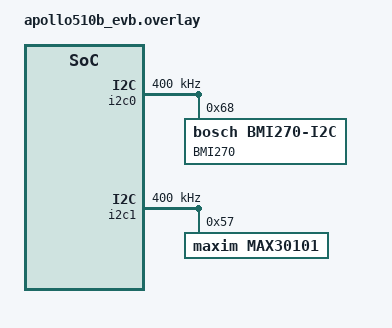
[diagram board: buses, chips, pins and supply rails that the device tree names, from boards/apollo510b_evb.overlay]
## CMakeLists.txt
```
# SPDX-License-Identifier: Apache-2.0
cmake_minimum_required(VERSION 3.20.0)
find_package(Zephyr REQUIRED HINTS $ENV{ZEPHYR_BASE})
project(weaver_wearable_fp)
target_sources(app PRIVATE src/main.c)
```

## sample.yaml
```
sample:
  description: Weaver pressure-aware scheduler driving real wearable sensors
    (BMI270 + MAX30101 Click boards) via the floating-point variant on
    Apollo510 Blue EVB.
  name: Weaver Wearable FP (Apollo510B + Click)
common:
  tags:
    - kernel
    - weaver
    - weaver-fp
    - wearable
    - sensor
  harness: console
  harness_config:
    type: one_line
    regex:
      - "Weaver FP Wearable Demo Complete"
tests:
  sample.kernel.weaver_wearable_fp.apollo510b:
    platform_allow:
      - apollo510b_evb
    integration_platforms:
      - apollo510b_evb
    extra_args:
      - SHIELD=ap510_disp
```

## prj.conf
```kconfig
# Weaver wearable on Apollo510 Blue EVB at 96 MHz LP mode, FP variant.
# Same workload as weaver_wearable but using the floating-point
# scheduler. Suitable when your Weft threads already use the FPU.

CONFIG_WEAVER_SCHED_FP=y
CONFIG_WEAVER_FP_WEARABLE_PRESET=y
CONFIG_WEAVER_FP_TIMING=y

CONFIG_FPU=y

# Sensor API
CONFIG_I2C=y
CONFIG_SENSOR=y
CONFIG_BMI270=y
CONFIG_MAX30101=y

# BLE host stack
CONFIG_BT=y
CONFIG_BT_PERIPHERAL=y
CONFIG_BT_DEVICE_NAME="Weaver FP Wearable"
CONFIG_BT_DIS=y

# Logging / runtime
CONFIG_LOG=y
CONFIG_LOG_MODE_MINIMAL=y
CONFIG_THREAD_NAME=y
CONFIG_THREAD_RUNTIME_STATS=y

CONFIG_MAIN_STACK_SIZE=4096
CONFIG_HEAP_MEM_POOL_SIZE=4096
CONFIG_SYS_CLOCK_TICKS_PER_SEC=1000
CONFIG_MP_MAX_NUM_CPUS=1

CONFIG_PM=y
CONFIG_PM_DEVICE=y
CONFIG_PM_DEVICE_RUNTIME=y
```

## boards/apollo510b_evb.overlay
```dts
/*
 * Copyright (c) 2026 Ambiq Micro, Inc.
 *
 * SPDX-License-Identifier: Apache-2.0
 *
 * Apollo510 Blue EVB overlay for the Weaver wearable demo.
 *
 * Wiring assumptions:
 *   mikroBUS slot 1 -> 6DOF IMU 14 Click   (BMI270)  on IOM0 / I2C0
 *   mikroBUS slot 2 -> Heart Rate 4 Click  (MAX30101) on IOM1 / I2C1
 *
 * If the EVB exposes a single mikroBUS slot, populate it with the
 * BMI270 click and remove the &iom1 / max30101 block below. The
 * scheduler logic is identical; the demo just won't drive the PPG
 * pipeline.
 *
 * The display is provided by the ap510_disp shield (MIPI-DSI AMOLED
 * + CHSC5x touch on iom2/i2c2). BLE is on iom6/spi6 from the board
 * DTS.
 */

&iom0 {
	cmdq-buffer-location = "SRAM_NO_CACHE";
	cmdq-buffer-size = <256>;

	i2c0: i2c {
		pinctrl-0 = <&i2c0_default>;
		pinctrl-names = "default";
		clock-frequency = <I2C_BITRATE_FAST>;
		status = "okay";

		bmi270@68 {
			compatible = "bosch,bmi270-i2c";
			reg = <0x68>;
			label = "BMI270";
			status = "okay";
		};
	};
};

&iom1 {
	cmdq-buffer-location = "SRAM_NO_CACHE";
	cmdq-buffer-size = <256>;

	i2c1: i2c {
		pinctrl-0 = <&i2c1_default>;
		pinctrl-names = "default";
		clock-frequency = <I2C_BITRATE_FAST>;
		status = "okay";

		max30101@57 {
			compatible = "maxim,max30101";
			reg = <0x57>;
			label = "MAX30101";
			status = "okay";

			/* Conservative defaults; tune for your wearable. */
			fifo = <0x4f>;
			smp-ave = "1";
			fifo-rollover-en;
			mode = "multi-led";
			slot1 = "red";
			slot2 = "ir";
			adc-rge = "16384";
			sr = "100";
			led-pa = [02 02 00 00];
		};
	};
};
```

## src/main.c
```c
/*
 * Copyright (c) 2026 Ambiq Micro, Inc.
 * SPDX-License-Identifier: Apache-2.0
 *
 * Same wearable workload as samples/.../weaver_wearable, but using
 * the floating-point Weaver variant. See weaver_sched_fp.h header for
 * when this variant is preferable to the fixed-point one.
 */

#include <zephyr/kernel.h>
#include <zephyr/kernel/weaver_sched_fp.h>
#include <zephyr/device.h>
#include <zephyr/drivers/sensor.h>
#include <zephyr/sys/printk.h>
#include <zephyr/logging/log.h>

LOG_MODULE_REGISTER(weaver_wearable_fp, LOG_LEVEL_INF);

#define IMU_PERIOD_MS  20
#define PPG_PERIOD_MS  40
#define DEMO_DURATION_MS 5000

#define IMU_PRIO        3
#define PPG_PRIO        4
#define FUSION_PRIO     8
#define HR_PRIO         8
#define GATT_TX_PRIO    9
#define DISPLAY_PRIO    11
#define NVM_PRIO        12

#define FIFO_SAMPLES 32

static atomic_t imu_ring  = ATOMIC_INIT(0);
static atomic_t ppg_ring  = ATOMIC_INIT(0);
static atomic_t gatt_ring = ATOMIC_INIT(0);

static const struct device *const bmi270_dev   = DEVICE_DT_GET_ANY(bosch_bmi270_i2c);
static const struct device *const max30101_dev = DEVICE_DT_GET_ANY(maxim_max30101);

#define STACK_SIZE 2048

static K_THREAD_STACK_DEFINE(s_imu,    STACK_SIZE);
static K_THREAD_STACK_DEFINE(s_ppg,    STACK_SIZE);
static K_THREAD_STACK_DEFINE(s_fusion, STACK_SIZE);
static K_THREAD_STACK_DEFINE(s_hr,     STACK_SIZE);
static K_THREAD_STACK_DEFINE(s_gatt,   STACK_SIZE);
static K_THREAD_STACK_DEFINE(s_disp,   STACK_SIZE);
static K_THREAD_STACK_DEFINE(s_nvm,    STACK_SIZE);

static struct k_thread t_imu, t_ppg, t_fusion, t_hr, t_gatt, t_disp, t_nvm;
static struct weaver_fp_thread_data wd_imu, wd_ppg, wd_fusion, wd_hr,
				    wd_gatt, wd_disp, wd_nvm;

static inline float depth_to_fill(int depth)
{
	if (depth <= 0)             return 0.0f;
	if (depth >= FIFO_SAMPLES)  return 1.0f;
	return (float)depth / (float)FIFO_SAMPLES;
}

static void imu_sample_fn(void *a, void *b, void *c)
{
	ARG_UNUSED(a); ARG_UNUSED(b); ARG_UNUSED(c);
	while (1) {
		if (device_is_ready(bmi270_dev)) {
			(void)sensor_sample_fetch(bmi270_dev);
			int d = atomic_inc(&imu_ring) + 1;
			if (d > FIFO_SAMPLES) atomic_set(&imu_ring, FIFO_SAMPLES);
			weaver_fp_set_buffer_fill_predictive(
				&wd_fusion, depth_to_fill(d));
		}
		k_sleep(K_MSEC(IMU_PERIOD_MS));
	}
}

static void ppg_sample_fn(void *a, void *b, void *c)
{
	ARG_UNUSED(a); ARG_UNUSED(b); ARG_UNUSED(c);
	while (1) {
		if (device_is_ready(max30101_dev)) {
			(void)sensor_sample_fetch(max30101_dev);
			int d = atomic_inc(&ppg_ring) + 1;
			if (d > FIFO_SAMPLES) atomic_set(&ppg_ring, FIFO_SAMPLES);
			weaver_fp_set_buffer_fill_predictive(
				&wd_hr, depth_to_fill(d));
		}
		k_sleep(K_MSEC(PPG_PERIOD_MS));
	}
}

static void fusion_fn(void *a, void *b, void *c)
{
	ARG_UNUSED(a); ARG_UNUSED(b); ARG_UNUSED(c);
	while (1) {
		int d = atomic_get(&imu_ring);
		if (d > 0) {
			int new_d = MAX(0, d - 8);
			atomic_set(&imu_ring, new_d);
			weaver_fp_set_buffer_fill_predictive(
				&wd_fusion, depth_to_fill(new_d));
		}
		k_sleep(K_MSEC(5));
	}
}

static void hr_fn(void *a, void *b, void *c)
{
	ARG_UNUSED(a); ARG_UNUSED(b); ARG_UNUSED(c);
	while (1) {
		int d = atomic_get(&ppg_ring);
		if (d > 0) {
			int new_d = MAX(0, d - 4);
			atomic_set(&ppg_ring, new_d);
			weaver_fp_set_buffer_fill_predictive(
				&wd_hr, depth_to_fill(new_d));
		}
		k_sleep(K_MSEC(10));
	}
}

static void gatt_tx_fn(void *a, void *b, void *c)
{
	ARG_UNUSED(a); ARG_UNUSED(b); ARG_UNUSED(c);
	while (1) {
		int d = atomic_inc(&gatt_ring) + 1;
		if (d > FIFO_SAMPLES) atomic_set(&gatt_ring, FIFO_SAMPLES);
		weaver_fp_set_buffer_fill_predictive(
			&wd_gatt, depth_to_fill(d));

		k_sleep(K_MSEC(15));

		int new_d = MAX(0, atomic_get(&gatt_ring) - 3);
		atomic_set(&gatt_ring, new_d);
		weaver_fp_set_buffer_fill_predictive(
			&wd_gatt, depth_to_fill(new_d));
	}
}

static void display_fn(void *a, void *b, void *c)
{
	ARG_UNUSED(a); ARG_UNUSED(b); ARG_UNUSED(c);
	while (1) { k_sleep(K_MSEC(33)); }
}

static void nvm_fn(void *a, void *b, void *c)
{
	ARG_UNUSED(a); ARG_UNUSED(b); ARG_UNUSED(c);
	while (1) { k_sleep(K_MSEC(1000)); }
}

static void tick_handler(struct k_timer *t) { ARG_UNUSED(t); weaver_fp_tick(); }
static K_TIMER_DEFINE(weaver_timer, tick_handler, NULL);

int main(void)
{
	printk("Weaver FP wearable demo on Apollo510B EVB (LP @ 96 MHz)\n");
	printk("BMI270   ready: %s\n",
	       (bmi270_dev   && device_is_ready(bmi270_dev))   ? "yes" : "no");
	printk("MAX30101 ready: %s\n",
	       (max30101_dev && device_is_ready(max30101_dev)) ? "yes" : "no");

	k_thread_create(&t_imu,    s_imu,    STACK_SIZE, imu_sample_fn,
			NULL, NULL, NULL, IMU_PRIO,     0, K_NO_WAIT);
	k_thread_create(&t_ppg,    s_ppg,    STACK_SIZE, ppg_sample_fn,
			NULL, NULL, NULL, PPG_PRIO,     0, K_NO_WAIT);
	k_thread_create(&t_fusion, s_fusion, STACK_SIZE, fusion_fn,
			NULL, NULL, NULL, FUSION_PRIO,  0, K_NO_WAIT);
	k_thread_create(&t_hr,     s_hr,     STACK_SIZE, hr_fn,
			NULL, NULL, NULL, HR_PRIO,      0, K_NO_WAIT);
	k_thread_create(&t_gatt,   s_gatt,   STACK_SIZE, gatt_tx_fn,
			NULL, NULL, NULL, GATT_TX_PRIO, 0, K_NO_WAIT);
	k_thread_create(&t_disp,   s_disp,   STACK_SIZE, display_fn,
			NULL, NULL, NULL, DISPLAY_PRIO, 0, K_NO_WAIT);
	k_thread_create(&t_nvm,    s_nvm,    STACK_SIZE, nvm_fn,
			NULL, NULL, NULL, NVM_PRIO,     0, K_NO_WAIT);

	weaver_fp_register(&wd_imu, &t_imu, 15.0f, true);
	weaver_fp_set_warp_deadline(&wd_imu, IMU_PERIOD_MS);

	weaver_fp_register(&wd_ppg, &t_ppg, 15.0f, true);
	weaver_fp_set_warp_deadline(&wd_ppg, PPG_PERIOD_MS);

	weaver_fp_register(&wd_fusion, &t_fusion, 8.0f, false);
	weaver_fp_register(&wd_hr,     &t_hr,     8.0f, false);
	weaver_fp_register(&wd_gatt,   &t_gatt,   7.0f, false);
	weaver_fp_register(&wd_disp,   &t_disp,   4.0f, false);
	weaver_fp_register(&wd_nvm,    &t_nvm,    2.0f, false);

	k_timer_start(&weaver_timer, K_MSEC(1), K_MSEC(1));

	uint32_t t0 = k_uptime_get_32();
	while ((k_uptime_get_32() - t0) < DEMO_DURATION_MS) {
		k_sleep(K_MSEC(500));

		struct weaver_fp_stats s;
		weaver_fp_get_stats(&s);

		/* %f formatting requires printk float support; fall back to
		 * printing the pressure * 1000 as an integer for portability.
		 */
		uint32_t sysp_milli = (uint32_t)(weaver_fp_system_pressure() * 1000.0f);

		printk("[t=%4ums] sys_p_x1000=%u throttle=%d level=%3u next_warp=%u "
		       "ticks=%u promo=%u clear=%u idle=%u tick_cyc=%u\n",
		       k_uptime_get_32() - t0,
		       sysp_milli,
		       weaver_fp_should_throttle() ? 1 : 0,
		       weaver_fp_throttle_level(),
		       weaver_fp_ticks_to_next_warp(),
		       s.total_ticks, s.weft_promotions,
		       s.pre_warp_clears, s.skipped_idle_ticks,
		       weaver_fp_get_last_tick_cycles());
	}

	k_timer_stop(&weaver_timer);

	weaver_fp_unregister(&wd_imu);
	weaver_fp_unregister(&wd_ppg);
	weaver_fp_unregister(&wd_fusion);
	weaver_fp_unregister(&wd_hr);
	weaver_fp_unregister(&wd_gatt);
	weaver_fp_unregister(&wd_disp);
	weaver_fp_unregister(&wd_nvm);

	printk("Weaver FP Wearable Demo Complete\n");
	return 0;
}
```
